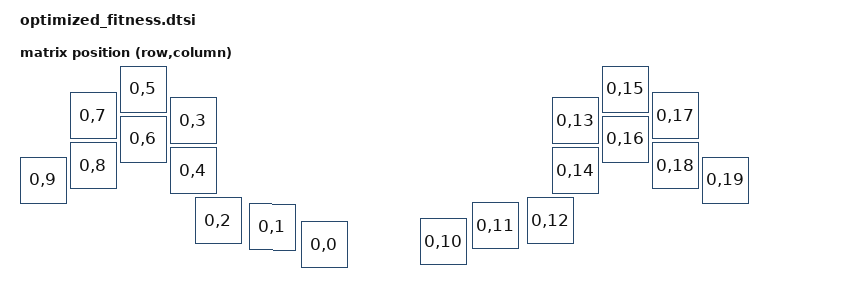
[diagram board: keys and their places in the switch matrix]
#include <dt-bindings/zmk/matrix_transform.h>
#include <physical_layouts.dtsi>

/ {
    chosen {
        zmk,physical-layout = &physical_layout0;
    };

    default_transform: keymap_transform_0 {
        compatible = "zmk,matrix-transform";
        columns = <20>;
        rows = <1>;
        map = <
            RC(0,0) RC(0,1) RC(0,2) RC(0,3) RC(0,4) RC(0,5) RC(0,6) RC(0,7) RC(0,8) RC(0,9)
            RC(0,10) RC(0,11) RC(0,12) RC(0,13) RC(0,14) RC(0,15) RC(0,16) RC(0,17) RC(0,18) RC(0,19)
        >;
    };

    physical_layout0: physical_layout_0 {
        compatible = "zmk,physical-layout";
        display-name = "Default Layout";
        transform = <&default_transform>;
        keys
            // Left half
            = <&key_physical_attrs 100 100 564 309 24 0 0>  // 1: Thumb 1 (Inner)
            , <&key_physical_attrs 100 100 459 275 12 0 0>  // 2: Thumb 2 (Mid)
            , <&key_physical_attrs 100 100 350 263 0 0 0>   // 3: Thumb 3 (Outer)
            , <&key_physical_attrs 100 100 300 63 0 0 0>    // 4: Index Top
            , <&key_physical_attrs 100 100 300 163 0 0 0>   // 5: Index Bottom
            , <&key_physical_attrs 100 100 200 0 0 0 0>     // 6: Middle Top
            , <&key_physical_attrs 100 100 200 100 0 0 0>   // 7: Middle Bottom
            , <&key_physical_attrs 100 100 100 53 0 0 0>    // 8: Ring Top
            , <&key_physical_attrs 100 100 100 153 0 0 0>   // 9: Ring Bottom
            , <&key_physical_attrs 100 100 0 182 0 0 0>     // 10: Pinky

            // Right half (Mirrored, X_OFFSET = 800)
            , <&key_physical_attrs 100 100 800 309 (-24) 0 0> // 11: Thumb 1 (Inner)
            , <&key_physical_attrs 100 100 905 275 (-12) 0 0> // 12: Thumb 2 (Mid)
            , <&key_physical_attrs 100 100 1014 263 0 0 0>    // 13: Thumb 3 (Outer)
            , <&key_physical_attrs 100 100 1064 63 0 0 0>     // 14: Index Top
            , <&key_physical_attrs 100 100 1064 163 0 0 0>    // 15: Index Bottom
            , <&key_physical_attrs 100 100 1164 0 0 0 0>      // 16: Middle Top
            , <&key_physical_attrs 100 100 1164 100 0 0 0>    // 17: Middle Bottom
            , <&key_physical_attrs 100 100 1264 53 0 0 0>     // 18: Ring Top
            , <&key_physical_attrs 100 100 1264 153 0 0 0>    // 19: Ring Bottom
            , <&key_physical_attrs 100 100 1364 182 0 0 0>    // 20: Pinky
            ;
    };
};
